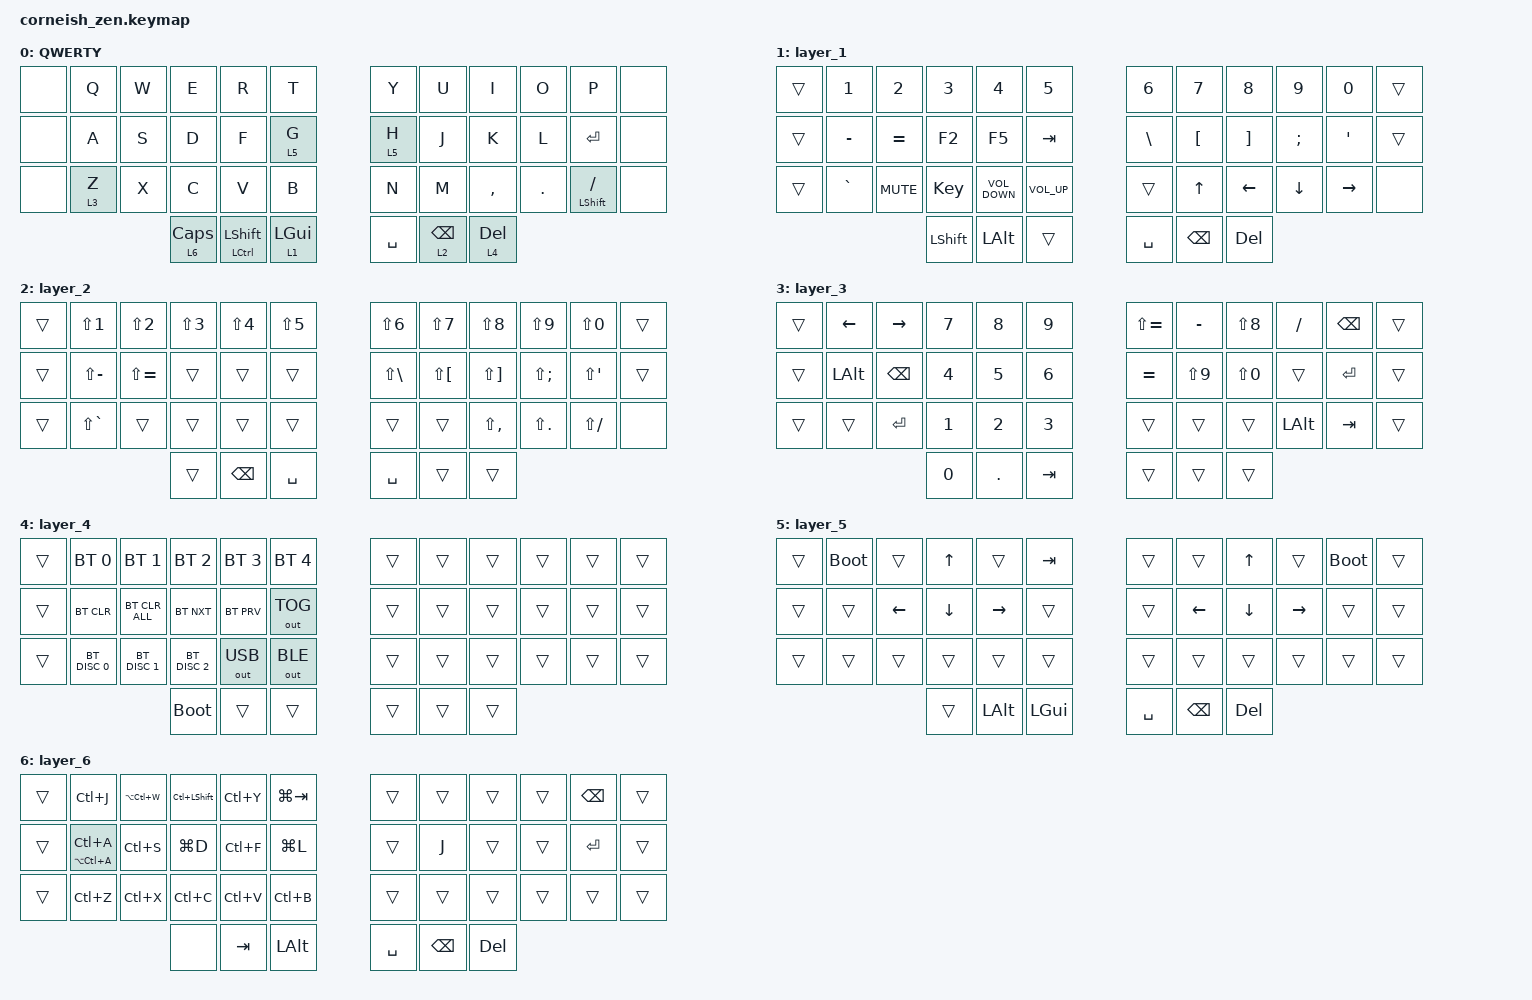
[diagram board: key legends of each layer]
/*
*
* Copyright (c) 2021 Darryl deHaan
* SPDX-License-Identifier: MIT
*
*/

#include <behaviors.dtsi>
#include <dt-bindings/zmk/bt.h>
#include <dt-bindings/zmk/keys.h>
#include <dt-bindings/zmk/outputs.h>

&lt { flavor = "tap-preferred"; };

&mt { flavor = "tap-preferred"; };

/ {
    chosen {
        zmk,matrix_transform = &default_transform;

        // zmk,matrix_transform = &five_column_transform;
    };
};

/ {
    combos {
        compatible = "zmk,combos";

        esc {
            bindings = <&kp ESCAPE>;
            key-positions = <1 2>;
        };

        del {
            bindings = <&kp DELETE>;
            key-positions = <13 14>;
        };

        caps {
            bindings = <&kp CAPSLOCK>;
            key-positions = <25 26>;
        };

        bac {
            bindings = <&kp BACKSPACE>;
            key-positions = <10 9>;
        };

        enter {
            bindings = <&kp ENTER>;
            key-positions = <22 21>;
        };

        tab {
            bindings = <&kp TAB>;
            key-positions = <34 33>;
        };

        home {
            bindings = <&kp HOME>;
            key-positions = <3 4>;
        };

        end {
            bindings = <&kp END>;
            key-positions = <15 16>;
        };

        pu {
            bindings = <&kp PG_UP>;
            key-positions = <7 8>;
        };

        pd {
            bindings = <&kp PG_DN>;
            key-positions = <19 20>;
        };
    };

    behaviors {
        ltq: ltq {
            compatible = "zmk,behavior-hold-tap";
            label = "LTQ";
            bindings = <&mo>, <&kp>;

            #binding-cells = <2>;
            tapping-term-ms = <200>;
            quick-tap-ms = <180>;
            flavor = "tap-preferred";
        };
    };

    macros {
        Key: Key {
            compatible = "zmk,behavior-macro";
            #binding-cells = <0>;
            bindings = <&kp LS(C) &kp H &kp L &kp DOT &kp N8 &kp N8 &kp N0 &kp N6 &kp N0 &kp N2 &kp EXCL &kp AT &kp POUND &kp DLLR &kp PRCNT &kp CARET &kp RET>;
            label = "KEY";
        };
    };

    keymap {
        compatible = "zmk,keymap";

        default_layer {
            display-name = "QWERTY";

            // --------------------------------------------------------------------------------
            // |  TAB |  Q  |  W  |  E  |  R  |  T  |   |  Y  |  U   |  I  |  O  |  P  | BKSP |
            // | CTRL |  A  |  S  |  D  |  F  |  G  |   |  H  |  J   |  K  |  L  |  ;  |  '   |
            // | SHFT |  Z  |  X  |  C  |  V  |  B  |   |  N  |  M   |  ,  |  .  |  /  | ESC  |
            //                    | GUI | LWR | SPC |   | ENT | RSE  | ALT |

            bindings = <
&none  &kp Q    &kp W  &kp E           &kp R                 &kp T             &kp Y      &kp U             &kp I      &kp O    &kp P             &none
&none  &kp A    &kp S  &kp D           &kp F                 &lt 5 G           &lt 5 H    &kp J             &kp K      &kp L    &kp ENTER         &none
&none  &lt 3 Z  &kp X  &kp C           &kp V                 &kp B             &kp N      &kp M             &kp COMMA  &kp DOT  &mt LSHIFT SLASH  &none
                       &lt 6 CAPSLOCK  &mt LCTRL LEFT_SHIFT  &lt 1 LEFT_GUI    &kp SPACE  &ltq 2 BACKSPACE  &lt 4 DEL
            >;
        };

        layer_1 {
            bindings = <
&trans  &kp N1     &kp N2      &kp N3     &kp N4             &kp N5             &kp N6     &kp N7        &kp N8    &kp N9          &kp N0     &trans
&trans  &kp MINUS  &kp EQUAL   &kp F2     &kp F5             &kp TAB            &kp BSLH   &kp LBKT      &kp RBKT  &kp SEMI        &kp APOS   &trans
&trans  &kp GRAVE  &kp C_MUTE  &Key       &kp C_VOLUME_DOWN  &kp C_VOLUME_UP    &trans     &kp UP_ARROW  &kp LEFT  &kp DOWN_ARROW  &kp RIGHT  &none
                               &kp LSHFT  &kp LALT           &trans             &kp SPACE  &kp BSPC      &kp DEL
            >;
        };

        layer_2 {
            bindings = <
&trans  &kp LS(N1)     &kp LS(N2)     &kp LS(N3)  &kp LS(N4)  &kp LS(N5)    &kp LS(N6)    &kp LS(N7)    &kp LS(N8)     &kp LS(N9)    &kp LS(N0)    &trans
&trans  &kp LS(MINUS)  &kp LS(EQUAL)  &trans      &trans      &trans        &kp LS(BSLH)  &kp LS(LBKT)  &kp LS(RBKT)   &kp LS(SEMI)  &kp LS(APOS)  &trans
&trans  &kp LS(GRAVE)  &trans         &trans      &trans      &trans        &trans        &trans        &kp LS(COMMA)  &kp LS(DOT)   &kp LS(FSLH)  &none
                                      &trans      &kp BSPC    &kp SPACE     &kp SPACE     &trans        &trans
            >;
        };

        layer_3 {
            bindings = <
&trans  &kp LEFT  &kp RIGHT  &kp N7  &kp N8   &kp N9     &kp LS(EQUAL)  &kp MINUS   &kp LS(N8)  &kp FSLH  &kp BSPC   &trans
&trans  &kp LALT  &kp BSPC   &kp N4  &kp N5   &kp N6     &kp EQUAL      &kp LS(N9)  &kp LS(N0)  &trans    &kp ENTER  &trans
&trans  &trans    &kp ENTER  &kp N1  &kp N2   &kp N3     &trans         &trans      &trans      &kp LALT  &kp TAB    &trans
                             &kp N0  &kp DOT  &kp TAB    &trans         &trans      &trans
            >;
        };

        layer_4 {
            bindings = <
&trans  &bt BT_SEL 0   &bt BT_SEL 1    &bt BT_SEL 2   &bt BT_SEL 3  &bt BT_SEL 4    &trans  &trans  &trans  &trans  &trans  &trans
&trans  &bt BT_CLR     &bt BT_CLR_ALL  &bt BT_NXT     &bt BT_PRV    &out OUT_TOG    &trans  &trans  &trans  &trans  &trans  &trans
&trans  &bt BT_DISC 0  &bt BT_DISC 1   &bt BT_DISC 2  &out OUT_USB  &out OUT_BLE    &trans  &trans  &trans  &trans  &trans  &trans
                                       &bootloader    &trans        &trans          &trans  &trans  &trans
            >;
        };

        layer_5 {
            bindings = <
&trans  &bootloader  &trans    &kp UP_ARROW  &trans     &kp TAB     &trans     &trans    &kp UP_ARROW  &trans     &bootloader  &trans
&trans  &trans       &kp LEFT  &kp DOWN      &kp RIGHT  &trans      &trans     &kp LEFT  &kp DOWN      &kp RIGHT  &trans       &trans
&trans  &trans       &trans    &trans        &trans     &trans      &trans     &trans    &trans        &trans     &trans       &trans
                               &trans        &kp LALT   &kp LGUI    &kp SPACE  &kp BSPC  &kp DELETE
            >;
        };

        layer_6 {
            bindings = <
&trans  &kp LC(J)            &kp LA(LC(W))  &kp LC(LSHFT)  &kp LC(Y)  &kp LG(TAB)    &trans     &trans    &trans      &trans  &kp BSPC   &trans
&trans  &mt LA(LC(A)) LC(A)  &kp LC(S)      &kp LG(D)      &kp LC(F)  &kp LG(L)      &trans     &kp J     &trans      &trans  &kp ENTER  &trans
&trans  &kp LC(Z)            &kp LC(X)      &kp LC(C)      &kp LC(V)  &kp LC(B)      &trans     &trans    &trans      &trans  &trans     &trans
                                            &none          &kp TAB    &kp LALT       &kp SPACE  &kp BSPC  &kp DELETE
            >;
        };
    };
};
